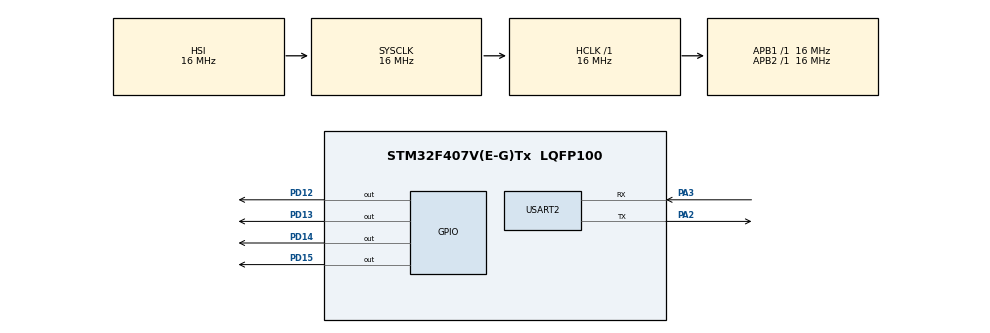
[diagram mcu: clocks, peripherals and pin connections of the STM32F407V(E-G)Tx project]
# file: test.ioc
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Mcu.Family=STM32F4
Mcu.Name=STM32F407V(E-G)Tx
Mcu.Package=LQFP100
NVIC.PriorityGroup=NVIC_PRIORITYGROUP_4
NVIC.TIM4_IRQn=true\:0\:0\:false\:false\:true\:true\:true\:true
NVIC.USART2_IRQn=true\:0\:0\:false\:false\:true\:true\:true\:true
PA13.Mode=Serial_Wire
PA13.Signal=SYS_JTMS-SWDIO
PA14.Mode=Serial_Wire
PA14.Signal=SYS_JTCK-SWCLK
PA2.Mode=Asynchronous
PA2.Signal=USART2_TX
PA3.Mode=Asynchronous
PA3.Signal=USART2_RX
PD12.Signal=GPIO_Output
PD13.Signal=GPIO_Output
PD14.Signal=GPIO_Output
PD15.Signal=GPIO_Output
PH0-OSC_IN.Mode=HSE-External-Oscillator
PH0-OSC_IN.Signal=RCC_OSC_IN
PH1-OSC_OUT.Mode=HSE-External-Oscillator
PH1-OSC_OUT.Signal=RCC_OSC_OUT
ProjectManager.HeapSize=0x200
ProjectManager.StackSize=0x400
ProjectManager.TargetToolchain=STM32CubeIDE
RCC.AHBFreq_Value=16000000
RCC.APB1Freq_Value=16000000
RCC.APB2Freq_Value=16000000
RCC.CortexFreq_Value=16000000
RCC.HSE_VALUE=25000000
RCC.HSI_VALUE=16000000
RCC.LSE_VALUE=32768
RCC.SYSCLKFreq_VALUE=16000000
RCC.VCOOutputFreq_Value=192000000
TIM4.AutoReloadPreload=TIM_AUTORELOAD_PRELOAD_ENABLE
TIM4.Period=500
TIM4.Prescaler=16000
USART2.VirtualMode=VM_ASYNC
VP_RNG_VS_RNG.Mode=RNG_Activate
VP_TIM4_VS_ClockSourceINT.Mode=Internal
board=custom

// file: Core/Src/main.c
/* USER CODE BEGIN Header */
/**
  ******************************************************************************
  * @file           : main.c
  * @brief          : Main program body
  ******************************************************************************
  * @attention
  *
  * Copyright (c) 2024 STMicroelectronics.
  * All rights reserved.
  *
  * This software is licensed under terms that can be found in the LICENSE file
  * in the root directory of this software component.
  * If no LICENSE file comes with this software, it is provided AS-IS.
  *
  ******************************************************************************
  */
/* USER CODE END Header */
#include "main.h"

/* USER CODE BEGIN PTD */
uint16_t encorder0=0;
uint16_t encorder1=0;
uint8_t tim4_flag=0;
uint8_t key_led=0;
/* USER CODE END PTD */

/* USER CODE BEGIN PM */
uint8_t Generate_Random_Number(void);

/* USER CODE END PM */

RNG_HandleTypeDef hrng;

TIM_HandleTypeDef htim4;

UART_HandleTypeDef huart2;

void SystemClock_Config(void);
static void MX_GPIO_Init(void);
static void MX_TIM4_Init(void);
static void MX_USART2_UART_Init(void);
static void MX_RNG_Init(void);
/* USER CODE BEGIN PFP */
uint8_t rx_data;

/* USER CODE END PFP */

/* USER CODE BEGIN 0 */
uint8_t Generate_Random_Number(void)
{
    uint32_t random32bit = 0;

    if (HAL_RNG_GenerateRandomNumber(&hrng, &random32bit) == HAL_OK)
    {
        // Convert to 0~255 range
        return (uint8_t)(random32bit % 256);
    }
    else
    {

        // Handle RNG error
        return 0;
    }
}
void HAL_UART_RxCpltCallback(UART_HandleTypeDef *huart) {
	//rx_data = 0;

	if (huart->Instance == USART2) {
        HAL_UART_Receive_IT(&huart2, &rx_data, 1);

        if(rx_data == '0')
        {
        	HAL_GPIO_WritePin(GPIOD, GPIO_PIN_12,GPIO_PIN_SET);
        	HAL_GPIO_WritePin(GPIOD, GPIO_PIN_13,GPIO_PIN_RESET);
        	HAL_GPIO_WritePin(GPIOD, GPIO_PIN_14,GPIO_PIN_RESET);
        	HAL_GPIO_WritePin(GPIOD, GPIO_PIN_15,GPIO_PIN_RESET);
        }
        else if(rx_data == '1')
        {

        	HAL_GPIO_WritePin(GPIOD, GPIO_PIN_12,GPIO_PIN_RESET);
        	HAL_GPIO_WritePin(GPIOD, GPIO_PIN_13,GPIO_PIN_SET);
        	HAL_GPIO_WritePin(GPIOD, GPIO_PIN_14,GPIO_PIN_RESET);
        	HAL_GPIO_WritePin(GPIOD, GPIO_PIN_15,GPIO_PIN_RESET);
        }
        else if(rx_data == '2')
        {

        	HAL_GPIO_WritePin(GPIOD, GPIO_PIN_12,GPIO_PIN_RESET);
        	HAL_GPIO_WritePin(GPIOD, GPIO_PIN_13,GPIO_PIN_RESET);
        	HAL_GPIO_WritePin(GPIOD, GPIO_PIN_14,GPIO_PIN_SET);
        	HAL_GPIO_WritePin(GPIOD, GPIO_PIN_15,GPIO_PIN_RESET);
        }
        else if(rx_data == '3')
        {
        	HAL_GPIO_WritePin(GPIOD, GPIO_PIN_12,GPIO_PIN_RESET);
        	HAL_GPIO_WritePin(GPIOD, GPIO_PIN_13,GPIO_PIN_RESET);
        	HAL_GPIO_WritePin(GPIOD, GPIO_PIN_14,GPIO_PIN_RESET);
        	HAL_GPIO_WritePin(GPIOD, GPIO_PIN_15,GPIO_PIN_SET);
        }

        /*
         if (rx_data == 'a') {
            HAL_GPIO_TogglePin(GPIOD, GPIO_PIN_15);
            key_led=! key_led;
        }
        else if (rx_data == 'A') {
            HAL_GPIO_TogglePin(GPIOD, GPIO_PIN_15);
            key_led=! key_led;
        }
        */

    }
}
void HAL_TIM_PeriodElapsedCallback(TIM_HandleTypeDef *htim) {
    if (htim->Instance == TIM4) {
    	encorder0++;
    	encorder1 = Generate_Random_Number();
      tim4_flag=1;
    }

}
uint8_t random_led()
{

	uint8_t random_led;
	random_led = encorder1%2;

	switch(random_led){
		case 0:
//			  HAL_GPIO_TogglePin(GPIOD, GPIO_PIN_13);

		case 1:
//			  HAL_GPIO_TogglePin(GPIOD, GPIO_PIN_14);

	}

	return random_led;

}
/* USER CODE END 0 */

int main(void)
{

  /* USER CODE BEGIN 1 */
	uint8_t buffer_array[10]={0};
	uint8_t rx_data;
  /* USER CODE END 1 */

  /* MCU Configuration--------------------------------------------------------*/

  /* Reset of all peripherals, Initializes the Flash interface and the Systick. */
  HAL_Init();

  /* Configure the system clock */
  SystemClock_Config();

  /* Initialize all configured peripherals */
  MX_GPIO_Init();
  MX_TIM4_Init();
  MX_USART2_UART_Init();
  MX_RNG_Init();
  /* USER CODE BEGIN 2 */

  HAL_TIM_Base_Start_IT(&htim4);
  HAL_UART_Transmit_IT(&huart2, buffer_array,1);
  HAL_UART_Receive_IT(&huart2, &rx_data, 1);
  //HAL_UART_Receive_IT

  /* USER CODE END 2 */

  /* Infinite loop */
  /* USER CODE BEGIN WHILE */
  while (1)
  {
	  if(tim4_flag==1)
	  {
		  random_led();
		  //0 : PD12   1: PD13  2: PD14 3: PD15

		  //flag init
		  tim4_flag=0;
		  buffer_array[0] = 0xf5; //1111 0101 check sum
		  buffer_array[1] = 8; //length
		  // encorder data
		  buffer_array[2]= (encorder0>>24) &0xff;
		  buffer_array[3]= (encorder0>>16)&0xff;//
		  buffer_array[4]= (encorder0>>8)&0xff;
		  buffer_array[5]= (encorder0)&0xff;//

		  buffer_array[6]= key_led&0xff;// led on value
		  buffer_array[7]= (encorder1>>16)&0xff;//
		  buffer_array[8]= (encorder1>>8)&0xff;
		  buffer_array[9]= (encorder1)&0xff;//

//		  HAL_UART_Transmit_IT(&huart2,(uint8_t*) buffer_array,10);
//		  HAL_GPIO_TogglePin(GPIOD, GPIO_PIN_12);

	  }
    /* USER CODE END WHILE */

  }
}

void SystemClock_Config(void)
{
  RCC_OscInitTypeDef RCC_OscInitStruct = {0};
  RCC_ClkInitTypeDef RCC_ClkInitStruct = {0};

  /** Configure the main internal regulator output voltage
  */
  __HAL_RCC_PWR_CLK_ENABLE();
  __HAL_PWR_VOLTAGESCALING_CONFIG(PWR_REGULATOR_VOLTAGE_SCALE1);

  /** Initializes the RCC Oscillators according to the specified parameters
  * in the RCC_OscInitTypeDef structure.
  */
  RCC_OscInitStruct.OscillatorType = RCC_OSCILLATORTYPE_HSI;
  RCC_OscInitStruct.HSIState = RCC_HSI_ON;
  RCC_OscInitStruct.HSICalibrationValue = RCC_HSICALIBRATION_DEFAULT;
  RCC_OscInitStruct.PLL.PLLState = RCC_PLL_ON;
  RCC_OscInitStruct.PLL.PLLSource = RCC_PLLSOURCE_HSI;
  RCC_OscInitStruct.PLL.PLLM = 16;
  RCC_OscInitStruct.PLL.PLLN = 192;
  RCC_OscInitStruct.PLL.PLLP = RCC_PLLP_DIV2;
  RCC_OscInitStruct.PLL.PLLQ = 4;
  if (HAL_RCC_OscConfig(&RCC_OscInitStruct) != HAL_OK)
  {
    Error_Handler();
  }

  /** Initializes the CPU, AHB and APB buses clocks
  */
  RCC_ClkInitStruct.ClockType = RCC_CLOCKTYPE_HCLK|RCC_CLOCKTYPE_SYSCLK
                              |RCC_CLOCKTYPE_PCLK1|RCC_CLOCKTYPE_PCLK2;
  RCC_ClkInitStruct.SYSCLKSource = RCC_SYSCLKSOURCE_HSI;
  RCC_ClkInitStruct.AHBCLKDivider = RCC_SYSCLK_DIV1;
  RCC_ClkInitStruct.APB1CLKDivider = RCC_HCLK_DIV1;
  RCC_ClkInitStruct.APB2CLKDivider = RCC_HCLK_DIV1;

  if (HAL_RCC_ClockConfig(&RCC_ClkInitStruct, FLASH_LATENCY_0) != HAL_OK)
  {
    Error_Handler();
  }
}

static void MX_RNG_Init(void)
{

  hrng.Instance = RNG;
  if (HAL_RNG_Init(&hrng) != HAL_OK)
  {
    Error_Handler();
  }

}

static void MX_TIM4_Init(void)
{

  TIM_ClockConfigTypeDef sClockSourceConfig = {0};
  TIM_MasterConfigTypeDef sMasterConfig = {0};

  htim4.Instance = TIM4;
  htim4.Init.Prescaler = 16000;
  htim4.Init.CounterMode = TIM_COUNTERMODE_UP;
  htim4.Init.Period = 500;
  htim4.Init.ClockDivision = TIM_CLOCKDIVISION_DIV1;
  htim4.Init.AutoReloadPreload = TIM_AUTORELOAD_PRELOAD_ENABLE;
  if (HAL_TIM_Base_Init(&htim4) != HAL_OK)
  {
    Error_Handler();
  }
  sClockSourceConfig.ClockSource = TIM_CLOCKSOURCE_INTERNAL;
  if (HAL_TIM_ConfigClockSource(&htim4, &sClockSourceConfig) != HAL_OK)
  {
    Error_Handler();
  }
  sMasterConfig.MasterOutputTrigger = TIM_TRGO_RESET;
  sMasterConfig.MasterSlaveMode = TIM_MASTERSLAVEMODE_DISABLE;
  if (HAL_TIMEx_MasterConfigSynchronization(&htim4, &sMasterConfig) != HAL_OK)
  {
    Error_Handler();
  }

}

static void MX_USART2_UART_Init(void)
{

  huart2.Instance = USART2;
  huart2.Init.BaudRate = 115200;
  huart2.Init.WordLength = UART_WORDLENGTH_8B;
  huart2.Init.StopBits = UART_STOPBITS_1;
  huart2.Init.Parity = UART_PARITY_NONE;
  huart2.Init.Mode = UART_MODE_TX_RX;
  huart2.Init.HwFlowCtl = UART_HWCONTROL_NONE;
  huart2.Init.OverSampling = UART_OVERSAMPLING_16;
  if (HAL_UART_Init(&huart2) != HAL_OK)
  {
    Error_Handler();
  }

}

static void MX_GPIO_Init(void)
{
  GPIO_InitTypeDef GPIO_InitStruct = {0};

  /* GPIO Ports Clock Enable */
  __HAL_RCC_GPIOH_CLK_ENABLE();
  __HAL_RCC_GPIOA_CLK_ENABLE();
  __HAL_RCC_GPIOD_CLK_ENABLE();

  /*Configure GPIO pin Output Level */
  HAL_GPIO_WritePin(GPIOD, GPIO_PIN_12|GPIO_PIN_13|GPIO_PIN_14|GPIO_PIN_15, GPIO_PIN_RESET);

  /*Configure GPIO pins : PD12 PD13 PD14 PD15 */
  GPIO_InitStruct.Pin = GPIO_PIN_12|GPIO_PIN_13|GPIO_PIN_14|GPIO_PIN_15;
  GPIO_InitStruct.Mode = GPIO_MODE_OUTPUT_PP;
  GPIO_InitStruct.Pull = GPIO_NOPULL;
  GPIO_InitStruct.Speed = GPIO_SPEED_FREQ_LOW;
  HAL_GPIO_Init(GPIOD, &GPIO_InitStruct);

}

void Error_Handler(void)
{
  __disable_irq();
  while (1)
  {
  }
}
